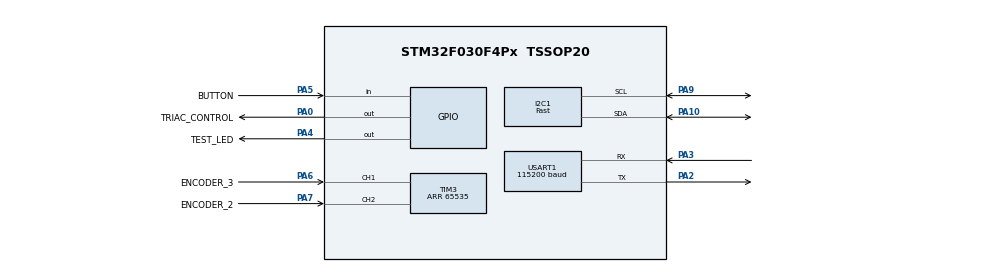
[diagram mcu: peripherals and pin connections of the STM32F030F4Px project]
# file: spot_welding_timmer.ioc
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I2C1.I2C_Speed_Mode=I2C_Fast
I2C1.Timing=0x0000020B
Mcu.Family=STM32F0
Mcu.Name=STM32F030F4Px
Mcu.Package=TSSOP20
NVIC.TIM1_BRK_UP_TRG_COM_IRQn=true\:0\:0\:false\:false\:true\:true\:true
NVIC.TIM3_IRQn=true\:0\:0\:false\:false\:true\:true\:true
PA0.GPIO_Label=TRIAC_CONTROL
PA0.GPIO_ModeDefaultOutputPP=GPIO_MODE_OUTPUT_PP
PA0.Signal=GPIO_Output
PA10.Mode=I2C
PA10.Signal=I2C1_SDA
PA13.Mode=Serial_Wire
PA13.Signal=SYS_SWDIO
PA14.Mode=Serial_Wire
PA14.Signal=SYS_SWCLK
PA2.Mode=Asynchronous
PA2.Signal=USART1_TX
PA3.Mode=Asynchronous
PA3.Signal=USART1_RX
PA4.GPIO_Label=TEST_LED
PA4.GPIO_ModeDefaultOutputPP=GPIO_MODE_OUTPUT_OD
PA4.Signal=GPIO_Output
PA5.GPIO_Label=BUTTON
PA5.GPIO_PuPd=GPIO_PULLUP
PA5.Signal=GPIO_Input
PA6.GPIO_Label=ENCODER_3
PA6.GPIO_PuPd=GPIO_PULLUP
PA6.Signal=S_TIM3_CH1
PA7.GPIO_Label=ENCODER_2
PA7.GPIO_PuPd=GPIO_PULLUP
PA7.Signal=S_TIM3_CH2
PA9.Mode=I2C
PA9.Signal=I2C1_SCL
ProjectManager.HeapSize=0x200
ProjectManager.StackSize=0x400
ProjectManager.TargetToolchain=TrueSTUDIO
SH.S_TIM3_CH1.0=TIM3_CH1,Encoder_Interface
SH.S_TIM3_CH2.0=TIM3_CH2,Encoder_Interface
TIM1.CounterMode=TIM_COUNTERMODE_DOWN
TIM1.Period=1000
TIM1.Prescaler=8
TIM3.ClockDivision=TIM_CLOCKDIVISION_DIV1
TIM3.CounterMode=TIM_COUNTERMODE_UP
TIM3.Period=65535
USART1.BaudRate=115200
USART1.VirtualMode-Asynchronous=VM_ASYNC
VP_TIM1_VS_ClockSourceITR.Mode=TriggerSource_ITR0
VP_TIM1_VS_ControllerModeReset.Mode=Reset Mode
board=custom

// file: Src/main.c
/* USER CODE BEGIN Header */
/**
  ******************************************************************************
  * @file           : main.c
  * @brief          : Main program body
  ******************************************************************************
  * @attention
  *
  * <h2><center>&copy; Copyright (c) 2020 STMicroelectronics.
  * All rights reserved.</center></h2>
  *
  * This software component is licensed by ST under BSD 3-Clause license,
  * the "License"; You may not use this file except in compliance with the
  * License. You may obtain a copy of the License at:
  *                        opensource.org/licenses/BSD-3-Clause
  *
  ******************************************************************************
  */
/* USER CODE END Header */

#include "main.h"

/* USER CODE BEGIN Includes */
#include "u8g2.h"
#include "screens.h"

/* USER CODE END Includes */

/* USER CODE BEGIN PD */
#define WELDING_TIMEOUT_MAX 2000
#define WELDING_TIMEOUT_MIN 100
#define ENCODER_DEBUONCE_TIMEOUT 100

#define BUTTON_DEBOUNCE_TIMEOUT_PRESS 30
#define BUTTON_DEBOUNCE_TIMEOUT_RELEASE 100

/* USER CODE END PD */

I2C_HandleTypeDef hi2c1;

TIM_HandleTypeDef htim1;
TIM_HandleTypeDef htim3;

UART_HandleTypeDef huart1;

/* USER CODE BEGIN PV */
volatile uint8_t  encoderDebounceCounter = 0;
volatile uint8_t  timer_updated_flag = 0;
volatile uint16_t timer_value = 0;
volatile uint16_t timer_value_shadow = 0;
volatile uint16_t welding_timeout = 500;
volatile uint16_t welding_timeout_counter = 0;

volatile uint16_t welding_timeout_countdown_counter = 0;

volatile uint16_t button_debounce_timeout_counter = 500;
volatile uint8_t button_debouncing_flag = 0;
volatile uint8_t button_pressed_flag = 0;

static u8g2_t u8g2;
struct screen_data_holder test_struct_holder;

/* USER CODE END PV */

void SystemClock_Config(void);
static void MX_GPIO_Init(void);
static void MX_TIM1_Init(void);
static void MX_I2C1_Init(void);
static void MX_TIM3_Init(void);
static void MX_USART1_UART_Init(void);
/* USER CODE BEGIN PFP */

int8_t test_screen_function(uint16_t reg_addr);
int8_t render_time_value(uint16_t reg_addr);

/* USER CODE END PFP */

/* USER CODE BEGIN 0 */

int8_t test_screen_function(uint16_t reg_addr) {
//	  char string[] = "test";
//		HAL_UART_Transmit(&huart1, string, 4, 50);
//		HAL_UART_Transmit(&huart1, &reg_addr, 1, 50);
//	  	HAL_UART_Transmit(&huart1, " ", 1, 50);

		u8g2_SetFont(&u8g2, u8g2_font_ncenB14_tr);
		u8g2_DrawStr(&u8g2, 1, 20, "Time ");
		u8g2_DrawStr(&u8g2, 120, 20, "s");

	  	return 0;
};

int8_t render_time_value(uint16_t value) {
		uint16_t thouthands = value/1000;
		uint16_t leftover = value%1000;

		char str[10];
		sprintf (str, "%d.%03d", thouthands, leftover);
		u8g2_SetFont(&u8g2, u8g2_font_ncenB14_tr);
		u8g2_DrawStr(&u8g2, 55, 20, str);

	  	return 0;
};

uint8_t u8x8_stm32_gpio_and_delay(U8X8_UNUSED u8x8_t *u8x8,
    U8X8_UNUSED uint8_t msg, U8X8_UNUSED uint8_t arg_int,
    U8X8_UNUSED void *arg_ptr)
{
  switch (msg)
  {
  case U8X8_MSG_GPIO_AND_DELAY_INIT:
    HAL_Delay(1);
    break;
  case U8X8_MSG_DELAY_MILLI:
    HAL_Delay(arg_int);
    break;
  case U8X8_MSG_GPIO_DC:
//    HAL_GPIO_WritePin(DISPLAY_DC_GPIO_Port, DISPLAY_DC_Pin, arg_int);
    break;
  case U8X8_MSG_GPIO_RESET:
//    HAL_GPIO_WritePin(DISPLAY_RESET_GPIO_Port, DISPLAY_RESET_Pin, arg_int);
    break;
  }
  return 1;
}

uint8_t u8x8_byte_sw_i2c_my(u8x8_t *u8x8, uint8_t msg, uint8_t arg_int, void *arg_ptr)
{
  static uint8_t buffer[32];		/* u8g2/u8x8 will never send more than 32 bytes between START_TRANSFER and END_TRANSFER */
  static uint8_t buf_idx;
  uint8_t *data;

  switch(msg)
  {
    case U8X8_MSG_BYTE_SEND:
      data = (uint8_t *)arg_ptr;
      while( arg_int > 0 )
      {
	buffer[buf_idx++] = *data;
	data++;
	arg_int--;
      }
      break;
    case U8X8_MSG_BYTE_INIT:
      /* add your custom code to init i2c subsystem */
      break;
    case U8X8_MSG_BYTE_SET_DC:
      /* ignored for i2c */
      break;
    case U8X8_MSG_BYTE_START_TRANSFER:
      buf_idx = 0;
      break;
    case U8X8_MSG_BYTE_END_TRANSFER:
    	HAL_I2C_Master_Transmit(&hi2c1,
    		/* uint16_t DevAddress, */
    		/* 0x3c<<1, correct address */
    			u8x8_GetI2CAddress(u8x8),
			/* uint8_t *pData, */
				buffer,
			/* uint16_t Size, */
				buf_idx,
			/* uint32_t Timeout); */
				50);
      break;
    default:
      return 0;
  }
  return 1;
}

void display_update(void) {
	u8g2_SetFont(&u8g2, u8g2_font_logisoso18_tr );

	char tmp_string[100];
	u8g2_FirstPage(&u8g2);
	do
	 {
		sprintf(tmp_string, "B xxx");
		u8g2_DrawStr(&u8g2, 0, 10, tmp_string);

	 } while (u8g2_NextPage(&u8g2));
}
/* USER CODE END 0 */

int main(void)
{

  /* MCU Configuration--------------------------------------------------------*/

  /* Reset of all peripherals, Initializes the Flash interface and the Systick. */
  HAL_Init();

  /* USER CODE BEGIN Init */
//  test_struct_holder.screen_index = 1;
  test_struct_holder.screen_renderer[0] = render_time_value;
  test_struct_holder.screen_renderer[1] = test_screen_function;

  //  test_struct_holder.screen_renderer = test_screen_function;

  /* USER CODE END Init */

  /* Configure the system clock */
  SystemClock_Config();

  /* Initialize all configured peripherals */
  MX_GPIO_Init();
  MX_TIM1_Init();
  MX_I2C1_Init();
  MX_TIM3_Init();
  MX_USART1_UART_Init();
  /* USER CODE BEGIN 2 */

//  HAL_TIM_PWM_Start_IT(&htim3, TIM_CHANNEL_1);
  HAL_TIM_Encoder_Start_IT(&htim3, TIM_CHANNEL_1);

  HAL_TIM_Base_Start_IT(&htim1);

  u8g2_Setup_ssd1306_i2c_128x32_univision_1(&u8g2,
		  U8G2_R0,
		  u8x8_byte_sw_i2c_my,
		  u8x8_stm32_gpio_and_delay); //[page buffer, size = 128 bytes]

  u8g2_InitDisplay(&u8g2);
  u8g2_SetPowerSave(&u8g2, 0);

  u8g2_FirstPage(&u8g2);

  	do
	{
//		u8g2_SetFont(&u8g2, u8g2_font_ncenB14_tr);
//		u8g2_DrawStr(&u8g2, 5, 20, "Hello world ");

		test_struct_holder.screen_renderer[0](welding_timeout);
  		test_struct_holder.screen_renderer[1](0x00);
	} while (u8g2_NextPage(&u8g2));

//	HAL_StatusTypeDef result;
// 	uint8_t i;
// 	for (i=1; i<128; i++)
// 	{
// 	  /*
// 	   * the HAL wants a left aligned i2c address
// 	   * &hi2c1 is the handle
// 	   * (uint16_t)(i<<1) is the i2c address left aligned
// 	   * retries 2
// 	   * timeout 2
// 	   */
// 	  result = HAL_I2C_IsDeviceReady(&hi2c1, (uint16_t)(i<<1), 2, 2);
// 	  if (result != HAL_OK) // HAL_ERROR or HAL_BUSY or HAL_TIMEOUT
// 	  {
//// 		  printf("."); // No ACK received at that address
// 		  uint8_t test = 0x00;
// 		  HAL_UART_Transmit(&huart1, &test, 1, 50);
//
// 	  }
// 	  if (result == HAL_OK)
// 	  {
//// 		  printf("0x%X", i); // Received an ACK at that address
// 		HAL_UART_Transmit(&huart1, &i, 1, 50);
// 	  }
// 	}

  /* USER CODE END 2 */

  /* Infinite loop */
  while (1)
  {

    /* USER CODE BEGIN 3 */

//	  button_pressed_flag
//	  button_debounce_timeout_counter
//	  BUTTON_DEBOUNCE_TIMEOUT

	if (button_pressed_flag == 0) {
		if (button_debouncing_flag == 0) {
			/* if pressed */
			if ( ! HAL_GPIO_ReadPin(GPIOA, BUTTON_Pin)) {
				button_debouncing_flag = 1;
				button_debounce_timeout_counter = BUTTON_DEBOUNCE_TIMEOUT_PRESS;
			}
		} else {
			if (! HAL_GPIO_ReadPin(GPIOA, BUTTON_Pin)) {
				if (button_debounce_timeout_counter == 0) {
					button_debouncing_flag = 0;
					button_pressed_flag = 1;
					/* pressed action here */

					HAL_GPIO_WritePin(GPIOA, TEST_LED_Pin | TRIAC_CONTROL_Pin, GPIO_PIN_SET);
					HAL_Delay(75);
					HAL_GPIO_WritePin(GPIOA, TEST_LED_Pin | TRIAC_CONTROL_Pin, GPIO_PIN_RESET);
					HAL_Delay(50);

					welding_timeout_counter = welding_timeout;
					HAL_GPIO_WritePin(GPIOA, TEST_LED_Pin | TRIAC_CONTROL_Pin, GPIO_PIN_SET);

//					char str1[10];
//					sprintf (str1, "press \r\n");
//					HAL_UART_Transmit(&huart1, (uint8_t*)str1, 10, 50);
				}

			/* if not pressed but debounce time still running*/
			} else {
				button_debouncing_flag = 0;
				button_pressed_flag = 0;
			}
		}
	} else {
		if (button_debouncing_flag == 0) {
			/* if not pressed */
			if (HAL_GPIO_ReadPin(GPIOA, BUTTON_Pin)) { /* change */
				button_debouncing_flag = 1;
				button_debounce_timeout_counter = BUTTON_DEBOUNCE_TIMEOUT_RELEASE;
			}
		} else {
			if (HAL_GPIO_ReadPin(GPIOA, BUTTON_Pin)) { /* change */
				if (button_debounce_timeout_counter == 0) {
					button_debouncing_flag = 0;
					button_pressed_flag = 0; /* change */
					/* released action here */
//					char str1[10];
//					sprintf (str1, "release \r\n");
//					HAL_UART_Transmit(&huart1, (uint8_t*)str1, 10, 50);
				}
			} else {
				button_debouncing_flag = 0;
				button_pressed_flag = 1; /* change */
			}
		}
	}

	  if (timer_updated_flag == 1) {
		  timer_updated_flag = 0;

		  if (encoderDebounceCounter == 0) {
			  encoderDebounceCounter = ENCODER_DEBUONCE_TIMEOUT;

			  /* timer incrementing value >> */
			  if (timer_value_shadow < timer_value) {
				  welding_timeout += 50;
				  if (welding_timeout > WELDING_TIMEOUT_MAX) {
					  welding_timeout = WELDING_TIMEOUT_MAX;
				  }
			  } else {
				  welding_timeout -= 50;
				  if (welding_timeout < WELDING_TIMEOUT_MIN) {
					  welding_timeout = WELDING_TIMEOUT_MIN;
				  }
			  }
			  timer_value_shadow = timer_value;
			  /* timer incrementing value << */
		  }

//			uint8_t test_data[2] = { (uint8_t)(timer_value >> 8), (uint8_t)(timer_value & 0x00ff) };
			u8g2_FirstPage(&u8g2);
			do
			{
				test_struct_holder.screen_renderer[0](welding_timeout);
				test_struct_holder.screen_renderer[1](0);
			} while (u8g2_NextPage(&u8g2));

			char str[10];
			sprintf (str, "%d \r\n", timer_value);
			HAL_UART_Transmit(&huart1, (uint8_t*)str, 10, 50);
	  }

//	HAL_GPIO_WritePin(GPIOA, TEST_LED_Pin, GPIO_PIN_SET);
//	HAL_Delay(1500);
//	HAL_GPIO_WritePin(GPIOA, TEST_LED_Pin, GPIO_PIN_RESET);
//	HAL_Delay(1500);
//	display_update();
//	uint8_t test_data[2] = { 0x05, 0x02 };
//	HAL_UART_Transmit(&huart1, test_data, 2, 50);
  }
  /* USER CODE END 3 */
}

void SystemClock_Config(void)
{
  RCC_OscInitTypeDef RCC_OscInitStruct = {0};
  RCC_ClkInitTypeDef RCC_ClkInitStruct = {0};
  RCC_PeriphCLKInitTypeDef PeriphClkInit = {0};

  /** Initializes the CPU, AHB and APB busses clocks
  */
  RCC_OscInitStruct.OscillatorType = RCC_OSCILLATORTYPE_HSI;
  RCC_OscInitStruct.HSIState = RCC_HSI_ON;
  RCC_OscInitStruct.HSICalibrationValue = RCC_HSICALIBRATION_DEFAULT;
  RCC_OscInitStruct.PLL.PLLState = RCC_PLL_NONE;
  if (HAL_RCC_OscConfig(&RCC_OscInitStruct) != HAL_OK)
  {
    Error_Handler();
  }
  /** Initializes the CPU, AHB and APB busses clocks
  */
  RCC_ClkInitStruct.ClockType = RCC_CLOCKTYPE_HCLK|RCC_CLOCKTYPE_SYSCLK
                              |RCC_CLOCKTYPE_PCLK1;
  RCC_ClkInitStruct.SYSCLKSource = RCC_SYSCLKSOURCE_HSI;
  RCC_ClkInitStruct.AHBCLKDivider = RCC_SYSCLK_DIV1;
  RCC_ClkInitStruct.APB1CLKDivider = RCC_HCLK_DIV1;

  if (HAL_RCC_ClockConfig(&RCC_ClkInitStruct, FLASH_LATENCY_0) != HAL_OK)
  {
    Error_Handler();
  }
  PeriphClkInit.PeriphClockSelection = RCC_PERIPHCLK_USART1|RCC_PERIPHCLK_I2C1;
  PeriphClkInit.Usart1ClockSelection = RCC_USART1CLKSOURCE_PCLK1;
  PeriphClkInit.I2c1ClockSelection = RCC_I2C1CLKSOURCE_HSI;
  if (HAL_RCCEx_PeriphCLKConfig(&PeriphClkInit) != HAL_OK)
  {
    Error_Handler();
  }
}

static void MX_I2C1_Init(void)
{

  hi2c1.Instance = I2C1;
  hi2c1.Init.Timing = 0x0000020B;
  hi2c1.Init.OwnAddress1 = 0;
  hi2c1.Init.AddressingMode = I2C_ADDRESSINGMODE_7BIT;
  hi2c1.Init.DualAddressMode = I2C_DUALADDRESS_DISABLE;
  hi2c1.Init.OwnAddress2 = 0;
  hi2c1.Init.OwnAddress2Masks = I2C_OA2_NOMASK;
  hi2c1.Init.GeneralCallMode = I2C_GENERALCALL_DISABLE;
  hi2c1.Init.NoStretchMode = I2C_NOSTRETCH_DISABLE;
  if (HAL_I2C_Init(&hi2c1) != HAL_OK)
  {
    Error_Handler();
  }
  /** Configure Analogue filter
  */
  if (HAL_I2CEx_ConfigAnalogFilter(&hi2c1, I2C_ANALOGFILTER_ENABLE) != HAL_OK)
  {
    Error_Handler();
  }
  /** Configure Digital filter
  */
  if (HAL_I2CEx_ConfigDigitalFilter(&hi2c1, 0) != HAL_OK)
  {
    Error_Handler();
  }

}

static void MX_TIM1_Init(void)
{

  TIM_SlaveConfigTypeDef sSlaveConfig = {0};
  TIM_MasterConfigTypeDef sMasterConfig = {0};

  htim1.Instance = TIM1;
  htim1.Init.Prescaler = 8;
  htim1.Init.CounterMode = TIM_COUNTERMODE_DOWN;
  htim1.Init.Period = 1000;
  htim1.Init.ClockDivision = TIM_CLOCKDIVISION_DIV1;
  htim1.Init.RepetitionCounter = 0;
  htim1.Init.AutoReloadPreload = TIM_AUTORELOAD_PRELOAD_DISABLE;
  if (HAL_TIM_Base_Init(&htim1) != HAL_OK)
  {
    Error_Handler();
  }
  sSlaveConfig.SlaveMode = TIM_SLAVEMODE_RESET;
  sSlaveConfig.InputTrigger = TIM_TS_ITR0;
  if (HAL_TIM_SlaveConfigSynchronization(&htim1, &sSlaveConfig) != HAL_OK)
  {
    Error_Handler();
  }
  sMasterConfig.MasterOutputTrigger = TIM_TRGO_RESET;
  sMasterConfig.MasterSlaveMode = TIM_MASTERSLAVEMODE_DISABLE;
  if (HAL_TIMEx_MasterConfigSynchronization(&htim1, &sMasterConfig) != HAL_OK)
  {
    Error_Handler();
  }

}

static void MX_TIM3_Init(void)
{

  TIM_Encoder_InitTypeDef sConfig = {0};
  TIM_MasterConfigTypeDef sMasterConfig = {0};

  htim3.Instance = TIM3;
  htim3.Init.Prescaler = 0;
  htim3.Init.CounterMode = TIM_COUNTERMODE_UP;
  htim3.Init.Period = 65535;
  htim3.Init.ClockDivision = TIM_CLOCKDIVISION_DIV1;
  htim3.Init.AutoReloadPreload = TIM_AUTORELOAD_PRELOAD_DISABLE;
  sConfig.EncoderMode = TIM_ENCODERMODE_TI1;
  sConfig.IC1Polarity = TIM_ICPOLARITY_RISING;
  sConfig.IC1Selection = TIM_ICSELECTION_DIRECTTI;
  sConfig.IC1Prescaler = TIM_ICPSC_DIV1;
  sConfig.IC1Filter = 0;
  sConfig.IC2Polarity = TIM_ICPOLARITY_RISING;
  sConfig.IC2Selection = TIM_ICSELECTION_DIRECTTI;
  sConfig.IC2Prescaler = TIM_ICPSC_DIV1;
  sConfig.IC2Filter = 0;
  if (HAL_TIM_Encoder_Init(&htim3, &sConfig) != HAL_OK)
  {
    Error_Handler();
  }
  sMasterConfig.MasterOutputTrigger = TIM_TRGO_RESET;
  sMasterConfig.MasterSlaveMode = TIM_MASTERSLAVEMODE_DISABLE;
  if (HAL_TIMEx_MasterConfigSynchronization(&htim3, &sMasterConfig) != HAL_OK)
  {
    Error_Handler();
  }

}

static void MX_USART1_UART_Init(void)
{

  huart1.Instance = USART1;
  huart1.Init.BaudRate = 115200;
  huart1.Init.WordLength = UART_WORDLENGTH_8B;
  huart1.Init.StopBits = UART_STOPBITS_1;
  huart1.Init.Parity = UART_PARITY_NONE;
  huart1.Init.Mode = UART_MODE_TX_RX;
  huart1.Init.HwFlowCtl = UART_HWCONTROL_NONE;
  huart1.Init.OverSampling = UART_OVERSAMPLING_16;
  huart1.Init.OneBitSampling = UART_ONE_BIT_SAMPLE_DISABLE;
  huart1.AdvancedInit.AdvFeatureInit = UART_ADVFEATURE_NO_INIT;
  if (HAL_UART_Init(&huart1) != HAL_OK)
  {
    Error_Handler();
  }

}

static void MX_GPIO_Init(void)
{
  GPIO_InitTypeDef GPIO_InitStruct = {0};

  /* GPIO Ports Clock Enable */
  __HAL_RCC_GPIOA_CLK_ENABLE();

  /*Configure GPIO pin Output Level */
  HAL_GPIO_WritePin(GPIOA, TRIAC_CONTROL_Pin|TEST_LED_Pin, GPIO_PIN_RESET);

  /*Configure GPIO pin : TRIAC_CONTROL_Pin */
  GPIO_InitStruct.Pin = TRIAC_CONTROL_Pin;
  GPIO_InitStruct.Mode = GPIO_MODE_OUTPUT_PP;
  GPIO_InitStruct.Pull = GPIO_NOPULL;
  GPIO_InitStruct.Speed = GPIO_SPEED_FREQ_LOW;
  HAL_GPIO_Init(TRIAC_CONTROL_GPIO_Port, &GPIO_InitStruct);

  /*Configure GPIO pin : TEST_LED_Pin */
  GPIO_InitStruct.Pin = TEST_LED_Pin;
  GPIO_InitStruct.Mode = GPIO_MODE_OUTPUT_OD;
  GPIO_InitStruct.Pull = GPIO_NOPULL;
  GPIO_InitStruct.Speed = GPIO_SPEED_FREQ_LOW;
  HAL_GPIO_Init(TEST_LED_GPIO_Port, &GPIO_InitStruct);

  /*Configure GPIO pin : BUTTON_Pin */
  GPIO_InitStruct.Pin = BUTTON_Pin;
  GPIO_InitStruct.Mode = GPIO_MODE_INPUT;
  GPIO_InitStruct.Pull = GPIO_PULLUP;
  HAL_GPIO_Init(BUTTON_GPIO_Port, &GPIO_InitStruct);

}

void Error_Handler(void)
{
}

/************************ (C) COPYRIGHT STMicroelectronics *****END OF FILE****/
